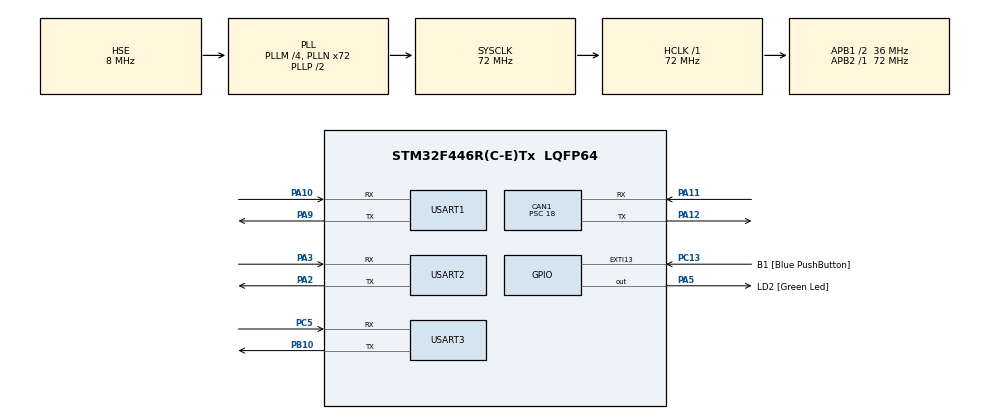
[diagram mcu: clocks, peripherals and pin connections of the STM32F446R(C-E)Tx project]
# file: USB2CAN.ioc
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CAN1.BS1=CAN_BS1_2TQ
CAN1.CalculateBaudRate=500000
CAN1.CalculateTimeBit=2000
CAN1.CalculateTimeQuantum=500.0
CAN1.Mode=CAN_MODE_NORMAL
CAN1.Prescaler=18
Mcu.Family=STM32F4
Mcu.Name=STM32F446R(C-E)Tx
Mcu.Package=LQFP64
NVIC.CAN1_RX0_IRQn=true\:0\:0\:false\:false\:true\:true\:true\:true
NVIC.CAN1_RX1_IRQn=true\:0\:0\:false\:false\:true\:true\:true\:true
NVIC.EXTI15_10_IRQn=true\:0\:0\:false\:false\:true\:true\:true\:true
NVIC.PriorityGroup=NVIC_PRIORITYGROUP_0
NVIC.USART1_IRQn=true\:0\:0\:false\:false\:true\:true\:true\:true
NVIC.USART2_IRQn=true\:0\:0\:false\:false\:true\:true\:true\:true
NVIC.USART3_IRQn=true\:0\:0\:false\:false\:true\:true\:true\:true
PA10.Mode=Asynchronous
PA10.Signal=USART1_RX
PA11.GPIO_PuPd=GPIO_NOPULL
PA11.Mode=CAN_Activate
PA11.Signal=CAN1_RX
PA12.Mode=CAN_Activate
PA12.Signal=CAN1_TX
PA13.GPIO_Label=TMS
PA13.Mode=Serial_Wire
PA13.Signal=SYS_JTMS-SWDIO
PA14.GPIO_Label=TCK
PA14.Mode=Serial_Wire
PA14.Signal=SYS_JTCK-SWCLK
PA2.GPIO_ModeDefaultPP=GPIO_MODE_AF_PP
PA2.GPIO_PuPd=GPIO_NOPULL
PA2.GPIO_Speed=GPIO_SPEED_FREQ_VERY_HIGH
PA2.Mode=Asynchronous
PA2.Signal=USART2_TX
PA3.GPIO_ModeDefaultPP=GPIO_MODE_AF_PP
PA3.GPIO_PuPd=GPIO_NOPULL
PA3.GPIO_Speed=GPIO_SPEED_FREQ_VERY_HIGH
PA3.Mode=Asynchronous
PA3.Signal=USART2_RX
PA5.GPIO_Label=LD2 [Green Led]
PA5.Signal=GPIO_Output
PA9.Mode=Asynchronous
PA9.Signal=USART1_TX
PB10.Mode=Asynchronous
PB10.Signal=USART3_TX
PB3.GPIO_Label=SWO
PB3.Signal=SYS_JTDO-SWO
PC13.GPIO_Label=B1 [Blue PushButton]
PC13.GPIO_ModeDefaultEXTI=GPIO_MODE_IT_FALLING
PC13.Signal=GPXTI13
PC14-OSC32_IN.Mode=LSE-External-Oscillator
PC14-OSC32_IN.Signal=RCC_OSC32_IN
PC15-OSC32_OUT.Mode=LSE-External-Oscillator
PC15-OSC32_OUT.Signal=RCC_OSC32_OUT
PC5.Mode=Asynchronous
PC5.Signal=USART3_RX
PH0-OSC_IN.Mode=HSE-External-Oscillator
PH0-OSC_IN.Signal=RCC_OSC_IN
PH1-OSC_OUT.Mode=HSE-External-Oscillator
PH1-OSC_OUT.Signal=RCC_OSC_OUT
ProjectManager.HeapSize=0x200
ProjectManager.StackSize=0x400
ProjectManager.TargetToolchain=Makefile
RCC.48MHZClocksFreq_Value=84000000
RCC.AHBFreq_Value=72000000
RCC.APB1CLKDivider=RCC_HCLK_DIV2
RCC.APB1Freq_Value=36000000
RCC.APB1TimFreq_Value=72000000
RCC.APB2Freq_Value=72000000
RCC.APB2TimFreq_Value=72000000
RCC.CortexFreq_Value=72000000
RCC.FLatency-AdvancedSettings=FLASH_LATENCY_2
RCC.HCLKFreq_Value=72000000
RCC.HSE_VALUE=8000000
RCC.HSI_VALUE=16000000
RCC.PLLM=4
RCC.PLLN=72
RCC.PLLQ=3
RCC.PLLSourceVirtual=RCC_PLLSOURCE_HSE
RCC.SYSCLKFreq_VALUE=72000000
RCC.SYSCLKSource=RCC_SYSCLKSOURCE_PLLCLK
RCC.USBFreq_Value=48000000
RCC.VCOOutputFreq_Value=144000000
USART1.VirtualMode=VM_ASYNC
USART2.VirtualMode=VM_ASYNC
USART3.VirtualMode=VM_ASYNC
board=NUCLEO-F446RE

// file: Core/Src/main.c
/* USER CODE BEGIN Header */
/**
  ******************************************************************************
  * @file           : main.c
  * @brief          : Main program body
  ******************************************************************************
  * @attention
  *
  * Copyright (c) 2024 STMicroelectronics.
  * All rights reserved.
  *
  * This software is licensed under terms that can be found in the LICENSE file
  * in the root directory of this software component.
  * If no LICENSE file comes with this software, it is provided AS-IS.
  *
  ******************************************************************************
  */
/* USER CODE END Header */
#include "main.h"
#include "can.h"
#include "usart.h"
#include "gpio.h"

/* USER CODE BEGIN Includes */
#include "string.h"
#include "stdio.h"
#include "stdlib.h"
#include "math.h"
#include <stdbool.h>
/* USER CODE END Includes */

/* USER CODE BEGIN PD */
#define BUFFER_SIZE 25
/* USER CODE END PD */

/* USER CODE BEGIN PV */
char serialBuffer[BUFFER_SIZE];
/* USER CODE END PV */

void SystemClock_Config(void);

/* USER CODE BEGIN 0 */
CAN_TxHeaderTypeDef TxHeader;
CAN_RxHeaderTypeDef RxHeader;

//available only 3 mailboxes, the hw will automatically decide which
//to forward the frame
uint32_t TxMailBox[3];

//both to contain the maximum payload for both standard and extended frame
uint8_t TxData[8];
uint8_t RxData[8];

/**
 * when we have pending messages, read them, construct a string
 * to send back to host pc through uart.
 *
 * in order to create a compliant slcand frame we have the following format:
 * <type><id><dlc><data>
 *
 */
char can2Uart[BUFFER_SIZE] = {0};
bool ready2Send = false;
void HAL_CAN_RxFifo0MsgPendingCallback(CAN_HandleTypeDef *hcan){

  HAL_CAN_GetRxMessage(hcan, CAN_RX_FIFO0, &RxHeader, RxData);

  //copy Id and DLC in buffer

  char typeFrame = (RxHeader.RTR == CAN_RTR_DATA) ? 't' : 'r';
  sprintf(can2Uart, "%c%03lX%lu", typeFrame, RxHeader.StdId, RxHeader.DLC);

  //convertion of bytes into hex characters
  //1 byte = 2 hex values
  char *offset = can2Uart + strlen(can2Uart);
  for (uint8_t i = 0; i < RxHeader.DLC; i++) {
      sprintf(offset, "%02X", RxData[i]);
      offset += 2;
  }
  strcat(can2Uart, "\r");
  ready2Send = true;

  //an example of what should look like the final string
  //"t4563112233\r";// can_id 0x456, len 3, data 0x11 0x22 0x33

  //volatile HAL_StatusTypeDef result =  HAL_UART_Transmit(&huart3, (uint8_t *) can2Uart, strlen(can2Uart), 30);
  //if(result == HAL_OK) return;
  //memset(can2Uart, 0, BUFFER_SIZE);//clear buffer
}

/**
 * when a can frame message is received from the serial, create a new frame to send
 * through the "real" can interface.
 *
 * we assume a standard frame to be received
 */
void HAL_UARTEx_RxEventCallback(UART_HandleTypeDef *huart, uint16_t Size)
{
  //extended frames are dropped as they are not used
  //also any frame type not recognized is dropped
  if(serialBuffer[0] != 't' && serialBuffer[0] != 'r'){
    memset(serialBuffer, 0, BUFFER_SIZE);
    //waiting for new message
    HAL_UARTEx_ReceiveToIdle_IT(&huart2, (uint8_t *)serialBuffer, BUFFER_SIZE);
    return;
  }

  //create the can frame and send it to a mailbox
  char id[4] = {0};
  strncpy(id, &serialBuffer[1], 3);//assuming standard id
  TxHeader.StdId = (uint32_t)strtol(id, NULL, 16);

  TxHeader.ExtId = 0; //not using extended ID
  TxHeader.IDE = CAN_ID_STD; //standard ID

  TxHeader.RTR = (serialBuffer[0] == 't') ?  //data frame / remote frame
                  CAN_RTR_DATA : CAN_RTR_REMOTE;

  TxHeader.TransmitGlobalTime = DISABLE;

  //collect payload to send skipping # char
  uint8_t payload_length = (strlen(serialBuffer) - 5) / 2; //each byte = 2 hex chars
  if (payload_length > 8) {
      //payload too large
      //drop message and abort sending can
      //for example, 123#001122334455667788 is dropped
      memset(serialBuffer, 0, BUFFER_SIZE);
      //waiting for new message
      HAL_UARTEx_ReceiveToIdle_IT(&huart2, (uint8_t *)serialBuffer, BUFFER_SIZE);
      return;
  }

  if(TxHeader.RTR == CAN_RTR_DATA){
    for (int i = 0; i < payload_length; i++) {
      //create pair of hex chars
      char hex_byte[3] = {serialBuffer[5 + 2 * i], serialBuffer[5 + 2 * i + 1], '\0'};
      TxData[i] = (uint8_t)strtol(hex_byte, NULL, 16);//convert each hex pair to uint8_t
    }
    TxHeader.DLC = payload_length;
  } else {
    //remote request, no payload defined
    TxHeader.DLC = (uint32_t)serialBuffer[4];
  }

  HAL_CAN_AddTxMessage(&hcan1, &TxHeader, &TxData[0], &TxMailBox[0]);

  //remain in listening for a new cansend frame
  memset(serialBuffer, 0, BUFFER_SIZE);
  HAL_UARTEx_ReceiveToIdle_IT(&huart2, (uint8_t *)serialBuffer, BUFFER_SIZE);
}

/* USER CODE END 0 */

int main(void)
{

  /* MCU Configuration--------------------------------------------------------*/

  /* Reset of all peripherals, Initializes the Flash interface and the Systick. */
  HAL_Init();

  /* Configure the system clock */
  SystemClock_Config();

  /* Initialize all configured peripherals */
  MX_GPIO_Init();
  MX_USART2_UART_Init();
  MX_CAN1_Init();
  MX_USART1_UART_Init();
  MX_USART3_UART_Init();
  /* USER CODE BEGIN 2 */
  HAL_CAN_Start(&hcan1);
  HAL_CAN_ActivateNotification(&hcan1, CAN_IT_RX_FIFO0_MSG_PENDING);

  /* USER CODE END 2 */

  /* Infinite loop */
  /* USER CODE BEGIN WHILE */

  //remain in listening for a cansend frame
  HAL_UARTEx_ReceiveToIdle_IT(&huart2, (uint8_t *)serialBuffer, BUFFER_SIZE);

  while (1)
  {
    /* USER CODE END WHILE */

    /* USER CODE BEGIN 3 */
    if(ready2Send) {
      HAL_StatusTypeDef result =  HAL_UART_Transmit(&huart2, (uint8_t *) can2Uart, strlen(can2Uart), HAL_MAX_DELAY);
      ready2Send = false;
    }
  }
  /* USER CODE END 3 */
}

void SystemClock_Config(void)
{
  RCC_OscInitTypeDef RCC_OscInitStruct = {0};
  RCC_ClkInitTypeDef RCC_ClkInitStruct = {0};

  /** Configure the main internal regulator output voltage
  */
  __HAL_RCC_PWR_CLK_ENABLE();
  __HAL_PWR_VOLTAGESCALING_CONFIG(PWR_REGULATOR_VOLTAGE_SCALE3);

  /** Initializes the RCC Oscillators according to the specified parameters
  * in the RCC_OscInitTypeDef structure.
  */
  RCC_OscInitStruct.OscillatorType = RCC_OSCILLATORTYPE_HSE;
  RCC_OscInitStruct.HSEState = RCC_HSE_ON;
  RCC_OscInitStruct.PLL.PLLState = RCC_PLL_ON;
  RCC_OscInitStruct.PLL.PLLSource = RCC_PLLSOURCE_HSE;
  RCC_OscInitStruct.PLL.PLLM = 4;
  RCC_OscInitStruct.PLL.PLLN = 72;
  RCC_OscInitStruct.PLL.PLLP = RCC_PLLP_DIV2;
  RCC_OscInitStruct.PLL.PLLQ = 3;
  RCC_OscInitStruct.PLL.PLLR = 2;
  if (HAL_RCC_OscConfig(&RCC_OscInitStruct) != HAL_OK)
  {
    Error_Handler();
  }

  /** Initializes the CPU, AHB and APB buses clocks
  */
  RCC_ClkInitStruct.ClockType = RCC_CLOCKTYPE_HCLK|RCC_CLOCKTYPE_SYSCLK
                              |RCC_CLOCKTYPE_PCLK1|RCC_CLOCKTYPE_PCLK2;
  RCC_ClkInitStruct.SYSCLKSource = RCC_SYSCLKSOURCE_PLLCLK;
  RCC_ClkInitStruct.AHBCLKDivider = RCC_SYSCLK_DIV1;
  RCC_ClkInitStruct.APB1CLKDivider = RCC_HCLK_DIV2;
  RCC_ClkInitStruct.APB2CLKDivider = RCC_HCLK_DIV1;

  if (HAL_RCC_ClockConfig(&RCC_ClkInitStruct, FLASH_LATENCY_2) != HAL_OK)
  {
    Error_Handler();
  }
}

void Error_Handler(void)
{
  __disable_irq();
  while (1)
  {
  }
}
